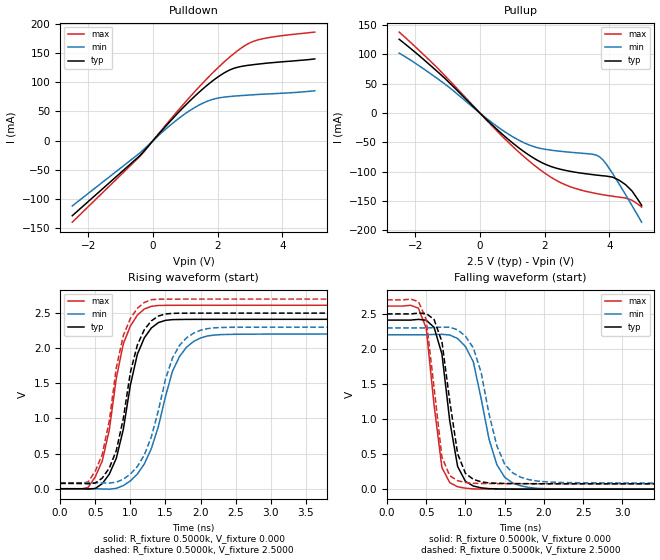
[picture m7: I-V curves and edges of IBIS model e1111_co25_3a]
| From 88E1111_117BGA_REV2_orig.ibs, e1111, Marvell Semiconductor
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|   Model e1111_co25_3a
[Model]   e1111_co25_3a
Model_type   Output
Polarity   Non-Inverting
Enable   Active-High
Vmeas =   1.2500V
Cref =  15.0000pF
Vref =  0.000V
C_comp   0.9800pF   0.8300pF   1.1200pF
[Temperature Range]   25.0000   0.1250k   0.000
[Voltage Range]   2.5000V   2.3000V   2.7000V
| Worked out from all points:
|   slope of the pulldown table from 0 to 0.375 V, typ, clamps not added: 15.9 ohm
|   slope of the pullup table from 0 to 0.375 V, typ, clamps not added: 18.7 ohm
|   rising waveform, R_fixture 0.5000k, V_fixture 0.000: 20-80 % time 295ps typ, 404ps min, 282ps max; typ from 0 V to 2.41 V
|   rising waveform, R_fixture 0.5000k, V_fixture 2.5000: 20-80 % time 288ps typ, 381ps min, 275ps max; typ from 0.076 V to 2.5 V
|   falling waveform, R_fixture 0.5000k, V_fixture 0.000: 20-80 % time 176ps typ, 265ps min, 157ps max; typ from 2.41 V to 0 V
|   falling waveform, R_fixture 0.5000k, V_fixture 2.5000: 20-80 % time 182ps typ, 289ps min, 160ps max; typ from 2.5 V to 0.076 V
[Pulldown]
| voltage   I(typ)   I(min)   I(max)
-2.5V     -128.7mA   -111.9mA   -139.8mA
-400mV    -25.38mA   -20.84mA   -26.61mA
300mV     18.97mA    15.25mA    20.39mA
900mV     54.71mA    42.29mA    59.64mA
1.5V      86.55mA    62.94mA    96.36mA
1.8V      100.4mA    69.77mA    113.5mA
2.1V      112.4mA    73.61mA    129.6mA
2.5V      123.7mA    76.04mA    148.9mA
2.8V      127.6mA    77.25mA    161.2mA
3.1V      129.9mA    78.41mA    169.8mA
3.8V      133.9mA    80.46mA    178.2mA
5V        139.8mA    85.26mA    185.7mA
[Pullup]
| voltage   I(typ)   I(min)   I(max)
-2.5V     125.9mA    102.3mA    138.1mA
-1.1V     59.93mA    50.14mA    64.7mA
600mV     -31.45mA   -25.46mA   -34.57mA
1.5V      -70.97mA   -53.8mA    -80.74mA
2V        -86.65mA   -61.51mA   -102.1mA
2.5V      -95.84mA   -65.12mA   -118.6mA
3.5V      -104.9mA   -70.23mA   -136mA
3.7V      -106.2mA   -74.54mA   -138.1mA
4.1V      -109.1mA   -102.6mA   -141.6mA
4.5V      -121.8mA   -138.7mA   -144.7mA
4.7V      -132.5mA   -157.4mA   -148.4mA
5V        -157.1mA   -185.9mA   -160.1mA
[Ramp]
| variable   typ   min   max
dV/dt_r   1.4470/0.2947n   1.3215/0.4038n   1.5672/0.2816n
dV/dt_f   1.4546/0.1826n   1.3289/0.2893n   1.5741/0.1602n
R_load = 0.5000k
[Rising Waveform]
R_fixture = 0.5000k
V_fixture = 0.000
V_fixture_min = 0.000
V_fixture_max = 0.000
| time   V(typ)   V(min)   V(max)
0s        0V         0V         0V
400ps     -5.078mV   -2.509uV   20.66mV
600ps     72.3mV     -3.639mV   395.4mV
700ps     207.2mV    -6.298mV   835.8mV
900ps     845mV      44.3mV     2.064V
1.1ns     1.914V     209mV      2.472V
1.3ns     2.289V     573.5mV    2.597V
1.7ns     2.409V     1.881V     2.612V
2.1ns     2.411V     2.175V     2.612V
9.9ns     2.412V     2.202V     2.612V
[Rising Waveform]
R_fixture = 0.5000k
V_fixture = 2.5000
V_fixture_min = 2.3000
V_fixture_max = 2.7000
| time   V(typ)   V(min)   V(max)
0s        75.72mV    85.17mV    76.57mV
400ps     70.76mV    85.17mV    98.31mV
600ps     151.7mV    81.69mV    489mV
700ps     293.9mV    80.17mV    965.4mV
900ps     1V         135.4mV    2.183V
1.1ns     2.047V     316.2mV    2.569V
1.3ns     2.39V      740.9mV    2.691V
1.6ns     2.496V     1.86V      2.7V
2.1ns     2.5V       2.279V     2.7V
9.9ns     2.5V       2.3V       2.7V
[Falling Waveform]
R_fixture = 0.5000k
V_fixture = 0.000
V_fixture_min = 0.000
V_fixture_max = 0.000
| time   V(typ)   V(min)   V(max)
0s        2.412V     2.203V     2.612V
400ps     2.422V     2.203V     2.582V
500ps     2.41V      2.202V     2.294V
600ps     2.308V     2.207V     1.196V
700ps     1.927V     2.209V     307.6mV
900ps     322.9mV    2.149V     34.23mV
1.1ns     44.95mV    1.815V     3.759mV
1.4ns     3.906mV    349.7mV    776.2uV
1.7ns     933.7uV    48.81mV    521.8uV
9.9ns     -3.697uV   -6.114uV   11.47uV
[Falling Waveform]
R_fixture = 0.5000k
V_fixture = 2.5000
V_fixture_min = 2.3000
V_fixture_max = 2.7000
| time   V(typ)   V(min)   V(max)
0s        2.5V       2.3V       2.7V
400ps     2.511V     2.3V       2.677V
500ps     2.506V     2.3V       2.42V
600ps     2.42V      2.305V     1.442V
700ps     2.104V     2.312V     456.4mV
900ps     504.9mV    2.273V     120.3mV
1.1ns     140mV      2.016V     83.47mV
1.5ns     81.15mV    354.8mV    78.02mV
1.8ns     78.3mV     138mV      77.37mV
9.9ns     75.7mV     85.16mV    76.58mV
